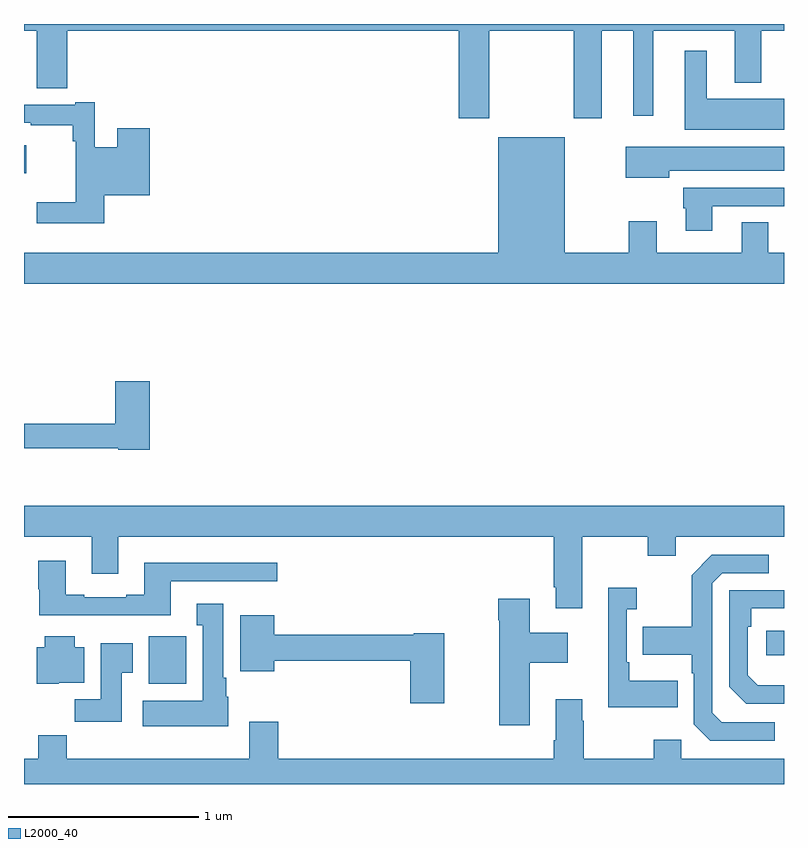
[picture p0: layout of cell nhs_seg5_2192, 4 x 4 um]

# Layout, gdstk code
import gdstk
lib = gdstk.Library(unit=1e-6, precision=1e-09)
def R(c, l, rs):  # rectangles x0, y0, x1, y1
    for r in rs: c.add(gdstk.rectangle(r[:2], r[2:], *l))
def P(c, l, *ps):  # polygons
    for p in ps: c.add(gdstk.Polygon(p, *l))
L2000_40 = (2000, 40)

nhs_seg5_2192 = lib.new_cell('nhs_seg5_2192')
R(nhs_seg5_2192, L2000_40, [(239.657,849.326,239.853,849.577), (242.907,849.476,243,849.606), (239,852.013,239.011,852.16)])
P(nhs_seg5_2192, L2000_40, [(239,852.764),(239.068,852.764),(239.068,852.46),(239.228,852.46),(239.228,852.764),(241.289,852.764),(241.289,852.303),(241.449,852.303),(241.449,852.764),(241.894,852.764),(241.894,852.303),(242.041,852.303),(242.041,852.764),(242.207,852.764),(242.207,852.315),(242.311,852.315),(242.311,852.764),(242.741,852.764),(242.741,852.491),(242.881,852.491),(242.881,852.764),(243,852.764),(243,852.799),(239,852.799)],
  [(243,852.406),(242.593,852.406),(242.593,852.658),(242.477,852.658),(242.477,852.242),(243,852.242)],
  [(239.423,851.897),(239.663,851.897),(239.663,852.25),(239.492,852.25),(239.492,852.151),(239.373,852.151),(239.373,852.388),(239.27,852.388),(239.27,852.375),(239,852.375),(239,852.279),(239.035,852.279),(239.035,852.267),(239.257,852.267),(239.257,852.182),(239.272,852.182),(239.272,851.86),(239.067,851.86),(239.067,851.75),(239.423,851.75)],
  [(243,851.596),(242.917,851.596),(242.917,851.756),(242.777,851.756),(242.777,851.596),(242.329,851.596),(242.329,851.761),(242.182,851.761),(242.182,851.596),(241.846,851.596),(241.846,852.202),(241.496,852.202),(241.496,851.596),(239,851.596),(239,851.432),(243,851.432)],
  [(242.395,852.026),(243,852.026),(243,852.154),(242.166,852.154),(242.166,851.99),(242.395,851.99)],
  [(242.623,851.841),(243,851.841),(243,851.937),(242.471,851.937),(242.471,851.829),(242.483,851.829),(242.483,851.712),(242.623,851.712)],
  [(239.663,850.918),(239.48,850.918),(239.48,850.694),(239,850.694),(239,850.566),(239.496,850.566),(239.496,850.558),(239.663,850.558)],
  [(241.939,850.1),(242.284,850.1),(242.284,850.001),(242.431,850.001),(242.431,850.1),(243,850.1),(243,850.264),(239,850.264),(239,850.1),(239.357,850.1),(239.357,849.906),(239.497,849.906),(239.497,850.1),(241.787,850.1),(241.787,849.835),(241.799,849.835),(241.799,849.723),(241.939,849.723)],
  [(242.95,849.123),(242.673,849.123),(242.622,849.174),(242.622,849.855),(242.676,849.909),(242.92,849.909),(242.92,850.005),(242.619,850.005),(242.514,849.899),(242.514,849.627),(242.257,849.627),(242.257,849.479),(242.514,849.479),(242.514,849.383),(242.526,849.383),(242.526,849.114),(242.613,849.027),(242.95,849.027)],
  [(239.773,849.867),(240.334,849.867),(240.334,849.964),(239.633,849.964),(239.633,849.796),(239.537,849.796),(239.537,849.783),(239.317,849.783),(239.317,849.796),(239.221,849.796),(239.221,849.973),(239.074,849.973),(239.074,849.825),(239.081,849.825),(239.081,849.686),(239.773,849.686)],
  [(242.441,849.343),(242.185,849.343),(242.185,849.439),(242.172,849.439),(242.172,849.719),(242.224,849.719),(242.224,849.832),(242.075,849.832),(242.075,849.203),(242.441,849.203)],
  [(243,849.319),(242.861,849.319),(242.808,849.372),(242.808,849.626),(242.828,849.626),(242.828,849.723),(243,849.723),(243,849.819),(242.712,849.819),(242.712,849.312),(242.802,849.222),(243,849.222)],
  [(241.663,849.437),(241.861,849.437),(241.861,849.595),(241.663,849.595),(241.663,849.775),(241.496,849.775),(241.496,849.662),(241.501,849.662),(241.501,849.108),(241.663,849.108)],
  [(240.076,849.258),(240.064,849.258),(240.064,849.358),(240.049,849.358),(240.049,849.748),(239.909,849.748),(239.909,849.635),(239.942,849.635),(239.942,849.238),(239.625,849.238),(239.625,849.104),(240.076,849.104)],
  [(241.212,849.592),(241.05,849.592),(241.05,849.584),(240.316,849.584),(240.316,849.688),(240.137,849.688),(240.137,849.392),(240.316,849.392),(240.316,849.448),(241.034,849.448),(241.034,849.225),(241.212,849.225)],
  [(239.184,849.332),(239.317,849.332),(239.317,849.52),(239.266,849.52),(239.266,849.577),(239.108,849.577),(239.108,849.52),(239.066,849.52),(239.066,849.326),(239.184,849.326)],
  [(239.515,849.385),(239.572,849.385),(239.572,849.541),(239.405,849.541),(239.405,849.244),(239.266,849.244),(239.266,849.126),(239.515,849.126)],
  [(243,848.932),(242.46,848.932),(242.46,849.031),(242.314,849.031),(242.314,848.932),(241.947,848.932),(241.947,849.131),(241.939,849.131),(241.939,849.244),(241.799,849.244),(241.799,849.028),(241.787,849.028),(241.787,848.932),(240.338,848.932),(240.338,849.127),(240.185,849.127),(240.185,848.932),(239.225,848.932),(239.225,849.056),(239.074,849.056),(239.074,848.932),(239,848.932),(239,848.799),(243,848.799)])

lib.write_gds('nhs_seg5_2192.gds')
